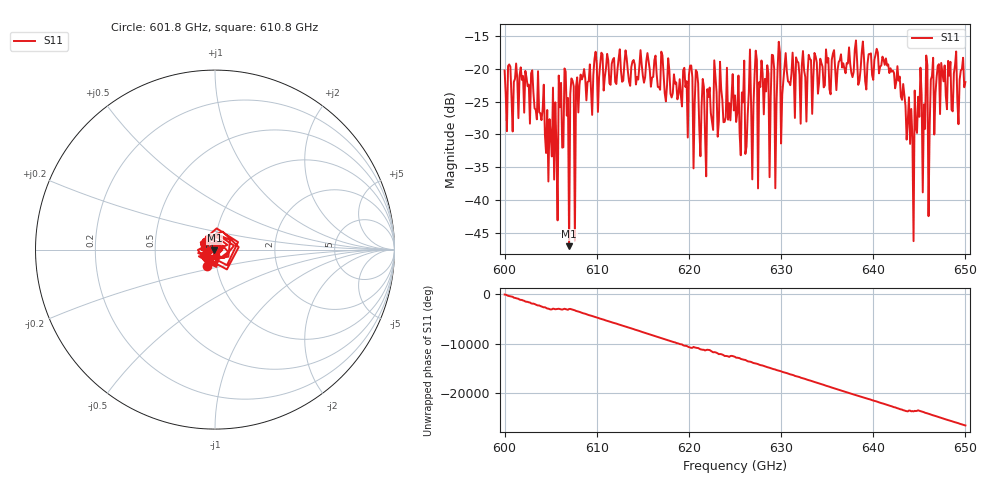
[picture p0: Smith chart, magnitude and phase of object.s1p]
!Created with skrf (http://scikit-rf.org).
# GHz S MA R 50.0
!freq magS11 angS11
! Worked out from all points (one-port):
!   401 points, 600 GHz to 650 GHz, reference 50 ohm
!   lowest |S11| = -47.0 dB at 607 GHz (marker M1), VSWR 1.01, Z = 49.7 - j0.28 ohm
!   |S11| at or under -10 dB: start of sweep to end of sweep
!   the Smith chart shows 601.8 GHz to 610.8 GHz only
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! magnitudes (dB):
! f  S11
! 600 GHz  -20.2
! 603.1 GHz  -23.6
! 605.5 GHz  -25.1
! 606.2 GHz  -32.0
! 606.6 GHz  -20.4
! 607 GHz  -47.0
! 607.9 GHz  -21.3
! 608 GHz  -26.6
! 608.4 GHz  -21.6
! 612.5 GHz  -17.0
! 618.8 GHz  -24.7
! 620.9 GHz  -20.5
! 621.6 GHz  -22.8
! 622.8 GHz  -18.7
! 625 GHz  -24.1
! 625.4 GHz  -21.0
! 627.9 GHz  -18.7
! 628.6 GHz  -20.7
! 631.2 GHz  -17.5
! 637.5 GHz  -19.3
! 641.2 GHz  -19.4
! 642.8 GHz  -21.8
! 643.8 GHz  -27.9
! 644.5 GHz  -23.3
! 645 GHz  -27.3
! 645.9 GHz  -19.4
! 647.1 GHz  -19.3
! 650 GHz  -22.0
